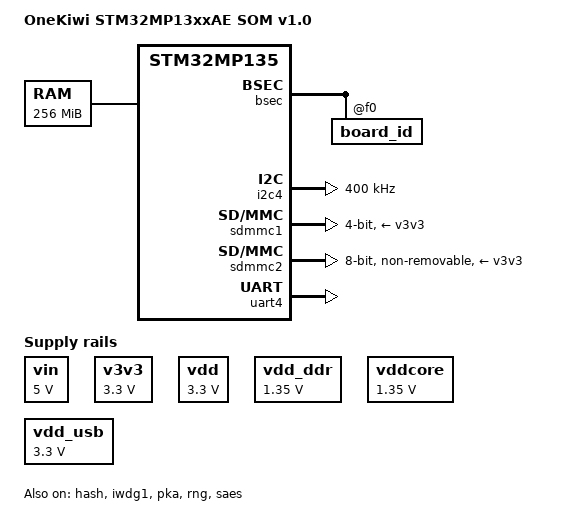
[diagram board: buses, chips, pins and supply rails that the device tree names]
// SPDX-License-Identifier: (GPL-2.0+ OR BSD-3-Clause)
/*
 * Copyright (C) STMicroelectronics 2022 - All Rights Reserved
 * Author: Alexandre Torgue <alexandre.torgue@foss.st.com> for STMicroelectronics.
 */

/dts-v1/;

#include <dt-bindings/clock/stm32mp13-clksrc.h>
#include "stm32mp135.dtsi"
#include "stm32mp13xf.dtsi"
#include "stm32mp13-ddr3-1x2Gb-1066-binF.dtsi"
#include "stm32mp13-kiwi-pin.dtsi"

/ {
	model = "OneKiwi STM32MP13xxAE SOM v1.0";
	compatible = "st,stm32mp13xxae-som-r1x256v10", "st,stm32mp135";

	aliases {
		serial0 = &uart4;
	};

	chosen {
		stdout-path = "serial0:115200n8";
	};

	memory@c0000000 {
		device_type = "memory";
		reg = <0xc0000000 0x10000000>;
	};

	vin: vin {
		compatible = "regulator-fixed";
		regulator-name = "vin";
		regulator-min-microvolt = <5000000>;
		regulator-max-microvolt = <5000000>;
		regulator-always-on;
	};

	v3v3: v3v3 {
		compatible = "regulator-fixed";
		regulator-name = "v3v3";
		regulator-min-microvolt = <3300000>;
		regulator-max-microvolt = <3300000>;
		regulator-always-on;
	};

	vdd: vdd {
		compatible = "regulator-fixed";
		regulator-name = "vdd";
		regulator-min-microvolt = <3300000>;
		regulator-max-microvolt = <3300000>;
	};

	vdd_ddr: vdd_ddr {
		compatible = "regulator-fixed";
		regulator-name = "vdd_ddr";
		regulator-min-microvolt = <1350000>;
		regulator-max-microvolt = <1350000>;
	};

	vddcore: vddcore {
		compatible = "regulator-fixed";
		regulator-name = "vddcore";
		regulator-min-microvolt = <1350000>;
		regulator-max-microvolt = <1350000>;
	};

	vdd_usb: vdd_usb {
		compatible = "regulator-fixed";
		regulator-name = "vdd_usb";
		regulator-min-microvolt = <3300000>;
		regulator-max-microvolt = <3300000>;
	};
};

&bsec {
	board_id: board_id@f0 {
		reg = <0xf0 0x4>;
		st,non-secure-otp;
	};
};

&cpu0 {
	cpu-supply = <&vddcore>;
};

&hash {
	status = "okay";
};

&i2c4 {
	pinctrl-names = "default";
	pinctrl-0 = <&i2c4_pins_a>;
	i2c-scl-rising-time-ns = <185>;
	i2c-scl-falling-time-ns = <20>;
	clock-frequency = <400000>;
	status = "okay";
};

&iwdg1 {
	timeout-sec = <32>;
	status = "okay";
};

&pka {
	status = "okay";
};

&pwr_regulators {
	vdd-supply = <&vdd>;
	vdd_3v3_usbfs-supply = <&vdd_usb>;
};

&rcc {
	st,clksrc = <
		CLK_MPU_PLL1P
		CLK_AXI_PLL2P
		CLK_MLAHBS_PLL3
		CLK_CKPER_HSE
		CLK_RTC_LSE
		CLK_SDMMC1_PLL4P
		CLK_SDMMC2_PLL4P
		CLK_STGEN_HSE
		CLK_USBPHY_HSE
		CLK_I2C4_HSI
		CLK_USBO_USBPHY
		CLK_I2C12_HSI
		CLK_UART2_HSI
		CLK_UART4_HSI
		CLK_SAES_AXI
	>;

	st,clkdiv = <
		DIV(DIV_AXI, 0)
		DIV(DIV_MLAHB, 0)
		DIV(DIV_APB1, 1)
		DIV(DIV_APB2, 1)
		DIV(DIV_APB3, 1)
		DIV(DIV_APB4, 1)
		DIV(DIV_APB5, 2)
		DIV(DIV_APB6, 1)
		DIV(DIV_RTC, 0)
	>;

	st,pll_vco {
		pll2_vco_1066Mhz: pll2-vco-1066Mhz {
			src = <CLK_PLL12_HSE>;
			divmn = <2 65>;
			frac = <0x1400>;
		};

		pll3_vco_417Mhz: pll3-vco-417Mhz {
			src = <CLK_PLL3_HSE>;
			divmn = <1 33>;
			frac = <0x1a04>;
		};

		pll4_vco_600Mhz: pll4-vco-600Mhz {
			src = <CLK_PLL4_HSE>;
			divmn = <1 49>;
		};
	};

	/* VCO = 1066.0 MHz => P = 266 (AXI), Q = 266, R = 533 (DDR) */
	pll2:st,pll@1 {
		compatible = "st,stm32mp1-pll";
		reg = <1>;

		st,pll = <&pll2_cfg1>;

		pll2_cfg1: pll2_cfg1 {
			st,pll_vco = <&pll2_vco_1066Mhz>;
			st,pll_div_pqr = <1 1 0>;
		};
	};

	/* VCO = 417.8 MHz => P = 209, Q = 24, R = 209 */
	pll3:st,pll@2 {
		compatible = "st,stm32mp1-pll";
		reg = <2>;

		st,pll = <&pll3_cfg1>;

		pll3_cfg1: pll3_cfg1 {
			st,pll_vco = <&pll3_vco_417Mhz>;
			st,pll_div_pqr = <1 16 1>;
		};
	};

	/* VCO = 600.0 MHz => P = 50, Q = 10, R = 100 */
	pll4:st,pll@3 {
		compatible = "st,stm32mp1-pll";
		reg = <3>;

		st,pll = <&pll4_cfg1>;

		pll4_cfg1: pll4_cfg1 {
			st,pll_vco = <&pll4_vco_600Mhz>;
			st,pll_div_pqr = <11 59 5>;
		};
	};
};

&rng {
	status = "okay";
};

&saes {
	status = "okay";
};

&sdmmc1 {
	pinctrl-names = "default";
	pinctrl-0 = <&sdmmc1_b4_pins_a &sdmmc1_clk_pins_a>;
	disable-wp;
	st,neg-edge;
	bus-width = <4>;
	vmmc-supply = <&v3v3>;
	status = "okay";
};

&sdmmc2 {
	pinctrl-names = "default";
	pinctrl-0 = <&sdmmc2_b8_pins_a &sdmmc2_clk_pins_a>;
	non-removable;
	no-sd;
	no-sdio;
	st,neg-edge;
	bus-width = <8>;
	vmmc-supply = <&v3v3>;
	vqmmc-supply = <&vdd>;
	mmc-ddr-3_3v;
	status = "okay";
};

&uart4 {
	pinctrl-names = "default";
	pinctrl-0 = <&uart4_pins_a>;
	status = "okay";
};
